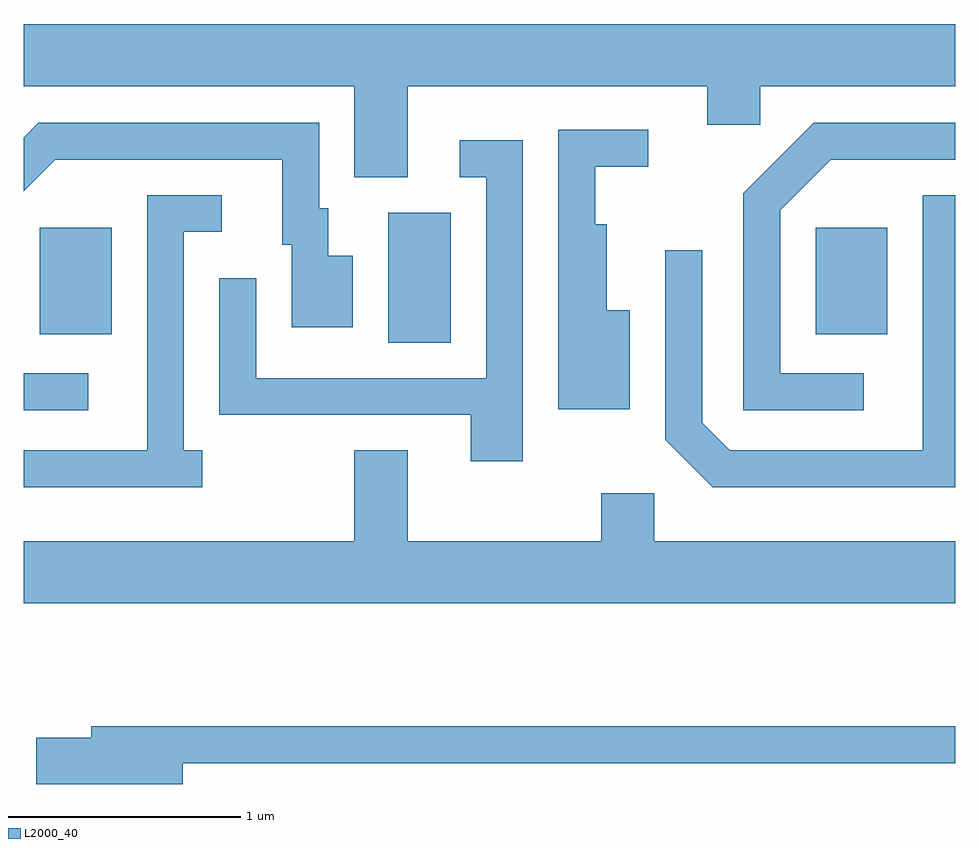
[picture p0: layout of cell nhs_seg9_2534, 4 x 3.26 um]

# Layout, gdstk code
import gdstk
lib = gdstk.Library(unit=1e-6, precision=1e-09)
def R(c, l, rs):  # rectangles x0, y0, x1, y1
    for r in rs: c.add(gdstk.rectangle(r[:2], r[2:], *l))
def P(c, l, *ps):  # polygons
    for p in ps: c.add(gdstk.Polygon(p, *l))
L2000_40 = (2000, 40)

nhs_seg9_2534 = lib.new_cell('nhs_seg9_2534')
R(nhs_seg9_2534, L2000_40, [(259.611,1990.426,259.888,1990.584), (261.176,1990.716,261.444,1991.274), (259.681,1990.751,259.989,1991.209), (263.011,1990.751,263.319,1991.209)])
P(nhs_seg9_2534, L2000_40, [(261.259,1991.816),(262.546,1991.816),(262.546,1991.651),(262.774,1991.651),(262.774,1991.816),(263.611,1991.816),(263.611,1992.084),(259.611,1992.084),(259.611,1991.816),(261.031,1991.816),(261.031,1991.426),(261.259,1991.426)],
  [(261.024,1991.089),(260.919,1991.089),(260.919,1991.294),(260.879,1991.294),(260.879,1991.659),(259.674,1991.659),(259.611,1991.596),(259.611,1991.366),(259.747,1991.501),(260.721,1991.501),(260.721,1991.136),(260.761,1991.136),(260.761,1990.781),(261.024,1990.781)],
  [(263.218,1990.584),(262.859,1990.584),(262.859,1991.284),(263.077,1991.501),(263.611,1991.501),(263.611,1991.659),(263.004,1991.659),(262.701,1991.357),(262.701,1990.426),(263.218,1990.426)],
  [(262.214,1990.854),(262.114,1990.854),(262.114,1991.224),(262.064,1991.224),(262.064,1991.471),(262.293,1991.471),(262.293,1991.629),(261.906,1991.629),(261.906,1990.431),(262.214,1990.431)],
  [(261.754,1991.584),(261.483,1991.584),(261.483,1991.426),(261.596,1991.426),(261.596,1990.564),(260.609,1990.564),(260.609,1990.993),(260.451,1990.993),(260.451,1990.406),(261.531,1990.406),(261.531,1990.206),(261.754,1990.206)],
  [(263.611,1991.349),(263.471,1991.349),(263.471,1990.254),(262.642,1990.254),(262.524,1990.372),(262.524,1991.113),(262.366,1991.113),(262.366,1990.299),(262.569,1990.096),(263.611,1990.096)],
  [(260.378,1990.254),(260.299,1990.254),(260.299,1991.191),(260.462,1991.191),(260.462,1991.349),(260.141,1991.349),(260.141,1990.254),(259.611,1990.254),(259.611,1990.096),(260.378,1990.096)],
  [(263.611,1989.864),(262.319,1989.864),(262.319,1990.069),(262.091,1990.069),(262.091,1989.864),(261.259,1989.864),(261.259,1990.254),(261.031,1990.254),(261.031,1989.864),(259.611,1989.864),(259.611,1989.596),(263.611,1989.596)],
  [(260.294,1988.911),(263.611,1988.911),(263.611,1989.069),(259.901,1989.069),(259.901,1989.019),(259.666,1989.019),(259.666,1988.821),(260.294,1988.821)])

lib.write_gds('nhs_seg9_2534.gds')
